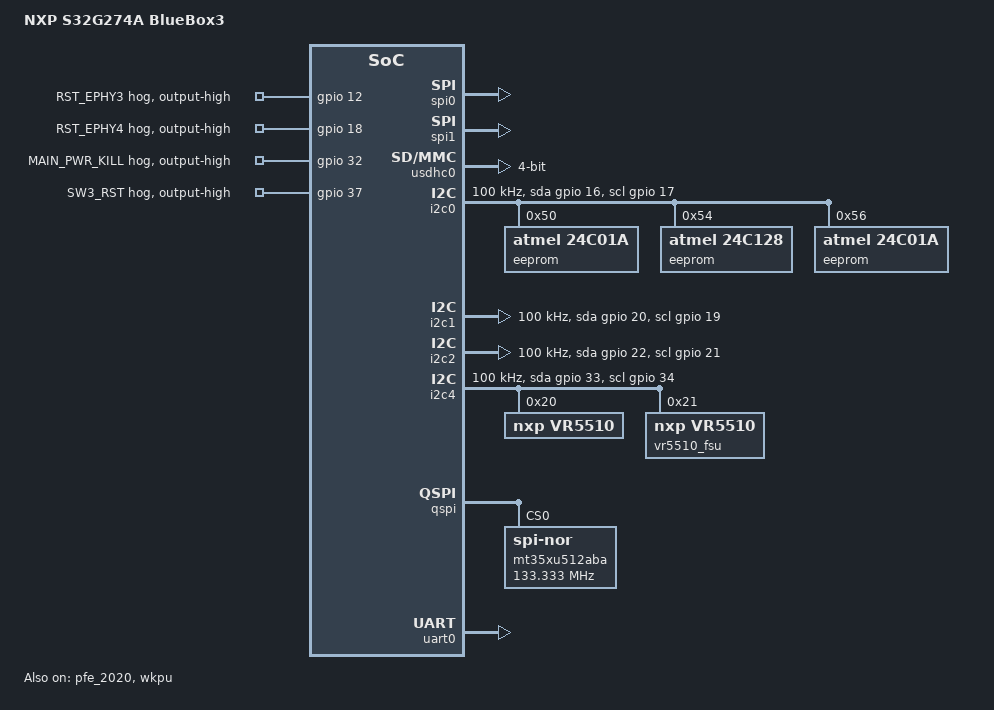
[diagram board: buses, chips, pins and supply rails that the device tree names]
// SPDX-License-Identifier: (GPL-2.0+ OR BSD-3-Clause)
/*
 * Copyright 2021-2023 NXP
 */

/dts-v1/;
#include <dt-bindings/gpio/gpio.h>
#include "s32g2.dtsi"

/ {
	model = "NXP S32G274A BlueBox3";
};

&spi0 {
	pinctrl-0 = <&dspi0_pins>;
	pinctrl-names = "default";
	status = "okay";
};

&spi1 {
	pinctrl-0 = <&dspi1_pins>;
	pinctrl-names = "default";
	status = "okay";
};

&usdhc0 {
	pinctrl-names = "default", "state_100mhz", "state_200mhz";
	/* By default, sd0 pins are able to work at 100Mhz and 200Mhz */
	pinctrl-0 = <&sd0_pins_default>;
	pinctrl-1 = <&sd0_pins_100mhz>;
	pinctrl-2 = <&sd0_pins_200mhz>;
	status = "okay";
	bus-width = <4>;
};

&pfe_2020 {
	status = "okay";
};

&pcie1 {
	status = "disabled";
};

&gpio {
	PA12 {
		gpio-hog;
		gpios = <12 0>;
		output-high;
		line-name = "RST_EPHY3";
	};

	PB02 {
		gpio-hog;
		gpios = <18 0>;
		output-high;
		line-name = "RST_EPHY4";
	};

	PC00 {
		gpio-hog;
		gpios = <32 0>;
		output-high;
		line-name = "MAIN_PWR_KILL";
	};

	PC05 {
		gpio-hog;
		gpios = <37 0>;
		output-high;
		line-name = "SW3_RST";
	};
};

&i2c0 {
	clock-frequency = <100000>;
	pinctrl-names = "default", "gpio";
	pinctrl-0 = <&i2c0_pins>;
	pinctrl-1 = <&i2c0_gpio_pins>;
	scl-gpios = <&gpio 17 (GPIO_ACTIVE_HIGH | GPIO_OPEN_DRAIN)>;
	sda-gpios = <&gpio 16 (GPIO_ACTIVE_HIGH | GPIO_OPEN_DRAIN)>;
	status = "okay";

	eeprom@50 {
		compatible = "atmel,24c01a";
		reg = <0x50>;
	};

	eeprom@54 {
		compatible = "atmel,24c128";
		reg = <0x54>;
		u-boot,i2c-offset-len = <2>;
	};

	eeprom@56 {
		compatible = "atmel,24c01a";
		reg = <0x56>;
	};
};

&i2c1 {
	clock-frequency = <100000>;
	pinctrl-names = "default", "gpio";
	pinctrl-0 = <&i2c1_pins>;
	pinctrl-1 = <&i2c1_gpio_pins>;
	scl-gpios = <&gpio 19 (GPIO_ACTIVE_HIGH | GPIO_OPEN_DRAIN)>;
	sda-gpios = <&gpio 20 (GPIO_ACTIVE_HIGH | GPIO_OPEN_DRAIN)>;
	status = "okay";
};

&i2c2 {
	clock-frequency = <100000>;
	pinctrl-names = "default", "gpio";
	pinctrl-0 = <&i2c2_pins>;
	pinctrl-1 = <&i2c2_gpio_pins>;
	scl-gpios = <&gpio 21 (GPIO_ACTIVE_HIGH | GPIO_OPEN_DRAIN)>;
	sda-gpios = <&gpio 22 (GPIO_ACTIVE_HIGH | GPIO_OPEN_DRAIN)>;
	status = "okay";
};

&i2c4 {
	clock-frequency = <100000>;
	pinctrl-names = "default", "gpio";
	pinctrl-0 = <&i2c4_pins>;
	pinctrl-1 = <&i2c4_gpio_pins>;
	scl-gpios = <&gpio 34 (GPIO_ACTIVE_HIGH | GPIO_OPEN_DRAIN)>;
	sda-gpios = <&gpio 33 (GPIO_ACTIVE_HIGH | GPIO_OPEN_DRAIN)>;
	status = "okay";

	vr5510@20 {
		compatible = "nxp,vr5510";
		reg = <0x20>;
		status = "okay";
	};

	vr5510_fsu@21 {
		compatible = "nxp,vr5510";
		reg = <0x21>;
		status = "okay";
	};
};

&pinctrl {
	u-boot,dm-pre-reloc;

	dspi0_pins: dspi0 {
		dspi0_grp0 {
			pinmux = <S32CC_PINMUX(13, FUNC1)>,
				 <S32CC_PINMUX(15, FUNC1)>;
			output-enable;
			slew-rate = <S32CC_GPIO_3V3_SLEW_50MHZ>;
		};

		dspi0_grp1 {
			pinmux = <S32CC_PINMUX(14, FUNC0)>;
			input-enable;
			slew-rate = <S32CC_GPIO_3V3_SLEW_50MHZ>;
			bias-pull-up;
		};

		dspi0_grp2 {
			pinmux = <S32CC_PINMUX(25, FUNC5)>;
			output-enable;
			slew-rate = <S32CC_GPIO_3V3_SLEW_50MHZ>;
			bias-pull-up;
		};

		dspi0_grp3 {
			pinmux = <S32CC_PINMUX(26, FUNC3)>;
			output-enable;
			slew-rate = <S32CC_GPIO_3V3_SLEW_50MHZ>;
			bias-pull-up;
		};

		dspi0_grp4 {
			pinmux = <S32CC_PINMUX(982, FUNC2)>;
		};

	};

	dspi1_pins: dspi1 {
		dspi1_grp0 {
			pinmux = <S32CC_PINMUX(6, FUNC2)>;
			output-enable;
			slew-rate = <S32CC_GPIO_3V3_SLEW_50MHZ>;
		};

		dspi1_grp1 {
			pinmux = <S32CC_PINMUX(7, FUNC2)>;
			output-enable;
			slew-rate = <S32CC_GPIO_3V3_SLEW_50MHZ>;
			bias-pull-up;
		};

		dspi1_grp2 {
			pinmux = <S32CC_PINMUX(8, FUNC3)>;
			output-enable;
			slew-rate = <S32CC_GPIO_3V3_SLEW_50MHZ>;
		};

		dspi1_grp3 {
			pinmux = <S32CC_PINMUX(68, FUNC3)>;
			output-enable;
			slew-rate = <S32CC_FAST_SLEW_150MHZ>;
			bias-pull-up;
		};

		dspi1_grp4 {
			pinmux = <S32CC_PINMUX(95, FUNC0)>;
			input-enable;
			slew-rate = <S32CC_GPIO_3V3_SLEW_50MHZ>;
			bias-pull-up;
		};

		dspi1_grp5 {
			pinmux = <S32CC_PINMUX(987, FUNC2)>;
		};

	};

	i2c0_pins: i2c0 {
		i2c0_grp0 {
			pinmux = <S32CC_PINMUX(16, FUNC1)>,
				 <S32CC_PINMUX(17, FUNC1)>;
			drive-open-drain;
			output-enable;
			input-enable;
			slew-rate = <S32CC_GPIO_3V3_SLEW_50MHZ>;
		};

		i2c0_grp1 {
			pinmux = <S32CC_PINMUX(565, FUNC2)>,
				 <S32CC_PINMUX(566, FUNC2)>;
		};

	};

	i2c0_gpio_pins: i2c0_gpio {
		i2c0_gpio_grp0 {
			pinmux = <S32CC_PINMUX(16, FUNC0)>,
				 <S32CC_PINMUX(17, FUNC0)>;
			drive-open-drain;
			output-enable;
			slew-rate = <S32CC_GPIO_3V3_SLEW_50MHZ>;
		};

		i2c0_gpio_grp1 {
			pinmux = <S32CC_PINMUX(565, FUNC0)>,
				 <S32CC_PINMUX(566, FUNC0)>;
		};

	};

	i2c1_pins: i2c1 {
		i2c1_grp0 {
			pinmux = <S32CC_PINMUX(19, FUNC1)>,
				 <S32CC_PINMUX(20, FUNC1)>;
			drive-open-drain;
			output-enable;
			input-enable;
			slew-rate = <S32CC_GPIO_3V3_SLEW_50MHZ>;
		};

		i2c1_grp1 {
			pinmux = <S32CC_PINMUX(717, FUNC2)>,
				 <S32CC_PINMUX(718, FUNC2)>;
		};

	};

	i2c1_gpio_pins: i2c1_gpio {
		i2c1_gpio_grp0 {
			pinmux = <S32CC_PINMUX(19, FUNC0)>,
				 <S32CC_PINMUX(20, FUNC0)>;
			drive-open-drain;
			output-enable;
			slew-rate = <S32CC_GPIO_3V3_SLEW_50MHZ>;
		};

		i2c1_gpio_grp1 {
			pinmux = <S32CC_PINMUX(717, FUNC0)>,
				 <S32CC_PINMUX(718, FUNC0)>;
		};

	};

	i2c2_pins: i2c2 {
		i2c2_grp0 {
			pinmux = <S32CC_PINMUX(21, FUNC1)>,
				 <S32CC_PINMUX(22, FUNC1)>;
			drive-open-drain;
			output-enable;
			input-enable;
			slew-rate = <S32CC_GPIO_3V3_SLEW_50MHZ>;
		};

		i2c2_grp1 {
			pinmux = <S32CC_PINMUX(719, FUNC2)>,
				 <S32CC_PINMUX(720, FUNC2)>;
		};

	};

	i2c2_gpio_pins: i2c2_gpio {
		i2c2_gpio_grp0 {
			pinmux = <S32CC_PINMUX(21, FUNC0)>,
				 <S32CC_PINMUX(22, FUNC0)>;
			drive-open-drain;
			output-enable;
			slew-rate = <S32CC_GPIO_3V3_SLEW_50MHZ>;
		};

		i2c2_gpio_grp1 {
			pinmux = <S32CC_PINMUX(719, FUNC0)>,
				 <S32CC_PINMUX(720, FUNC0)>;
		};

	};

	i2c4_pins: i2c4 {
		i2c4_grp0 {
			pinmux = <S32CC_PINMUX(33, FUNC1)>;
			drive-open-drain;
			output-enable;
			input-enable;
			slew-rate = <S32CC_GPIO_3V3_SLEW_50MHZ>;
		};

		i2c4_grp1 {
			pinmux = <S32CC_PINMUX(34, FUNC2)>;
			drive-open-drain;
			output-enable;
			input-enable;
			slew-rate = <S32CC_GPIO_3V3_SLEW_50MHZ>;
		};

		i2c4_grp2 {
			pinmux = <S32CC_PINMUX(724, FUNC3)>,
				 <S32CC_PINMUX(723, FUNC3)>;
		};

	};

	i2c4_gpio_pins: i2c4_gpio {
		i2c4_gpio_grp0 {
			pinmux = <S32CC_PINMUX(33, FUNC0)>,
				 <S32CC_PINMUX(34, FUNC0)>;
			drive-open-drain;
			output-enable;
			slew-rate = <S32CC_GPIO_3V3_SLEW_50MHZ>;
		};

		i2c4_gpio_grp1 {
			pinmux = <S32CC_PINMUX(724, FUNC0)>,
				 <S32CC_PINMUX(723, FUNC0)>;
		};

	};

	uart0_pins: uart0 {
		uart0_grp0 {
			pinmux = <S32CC_PINMUX(41, FUNC1)>;
			output-enable;
			slew-rate = <S32CC_GPIO_3V3_SLEW_50MHZ>;
		};

		uart0_grp1 {
			pinmux = <S32CC_PINMUX(42, FUNC0)>;
			input-enable;
			slew-rate = <S32CC_GPIO_3V3_SLEW_50MHZ>;
		};

		uart0_pins_grp2 {
			pinmux = <S32CC_PINMUX(512, FUNC2)>;
		};
	};
};

&qspi {
	/delete-node/ mx25uw51245g@0;

	mt35xu512aba@0 {
		address-cells = <1>;
		#size-cells = <1>;
		compatible = "jedec,spi-nor";
		spi-max-frequency = <133333333>;
		spi-tx-bus-width = <8>;
		spi-rx-bus-width = <8>;
		reg = <0>;
	};
};

&uart0 {
	pinctrl-0 = <&uart0_pins>;
	pinctrl-names = "default";
	status = "okay";
};

&wkpu {
	status = "okay";
};
